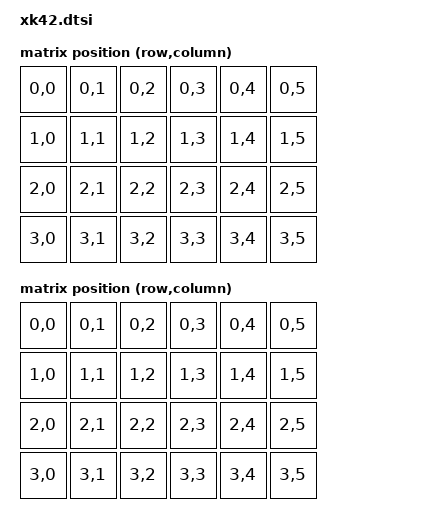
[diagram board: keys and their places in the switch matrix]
/*
* Copyright (c) 2020 The ZMK Contributors
*
* SPDX-License-Identifier: MIT
*/

/dts-v1/;
#include <nordic/nrf52840_qiaa.dtsi>
#include <dt-bindings/zmk/matrix_transform.h>

#include "xk42-layouts.dtsi"

&default_layout {
    transform = <&default_transform>;
};

&five_col_layout {
    transform = <&five_col_transform>;
};

/ {
    chosen {
        zephyr,code-partition = &code_partition;
        zephyr,sram = &sram0;
        zephyr,flash = &flash0;
        zmk,kscan = &kscan0;
        zmk,battery = &fuelgauge;
    };

    default_transform: keymap_transform_0 {
        compatible = "zmk,matrix-transform";
        columns = <6>;
        rows = <4>;
        map = <
            RC(0,0) RC(0,1) RC(0,2) RC(0,3) RC(0,4) RC(0,5)
            RC(1,0) RC(1,1) RC(1,2) RC(1,3) RC(1,4) RC(1,5)
            RC(2,0) RC(2,1) RC(2,2) RC(2,3) RC(2,4) RC(2,5)
            RC(3,0) RC(3,1) RC(3,2) RC(3,3) RC(3,4) RC(3,5)
        >;
    };

    five_col_transform: keymap_transform_1 {
        compatible = "zmk,matrix-transform";
        columns = <6>;
        rows = <4>;
        map = <
            RC(0,0) RC(0,1) RC(0,2) RC(0,3) RC(0,4) RC(0,5)
            RC(1,0) RC(1,1) RC(1,2) RC(1,3) RC(1,4) RC(1,5)
            RC(2,0) RC(2,1) RC(2,2) RC(2,3) RC(2,4) RC(2,5)
            RC(3,0) RC(3,1) RC(3,2) RC(3,3) RC(3,4) RC(3,5)
        >;
    };

    // Node name must match original "EXT_POWER" label to preserve user settings.
    EXT_POWER {
        compatible = "zmk,ext-power-generic";
        control-gpios = <&gpio1 11 GPIO_ACTIVE_HIGH>;
        init-delay-ms = <50>;
    };
};

&gpio0 {
    status = "okay";
};

&gpio1 {
    status = "okay";
};

zephyr_udc0: &usbd {
    status = "okay";
};


&pinctrl {
    spi0_default: spi0_default {
        group1 {
            psels = <NRF_PSEL(SPIM_SCK, 0, 17)>,
                <NRF_PSEL(SPIM_MOSI, 0, 20)>,
                <NRF_PSEL(SPIM_MISO, 0, 25)>;
        };
    };

    spi0_sleep: spi0_sleep {
        group1 {
            psels = <NRF_PSEL(SPIM_SCK, 0, 17)>,
                <NRF_PSEL(SPIM_MOSI, 0, 20)>,
                <NRF_PSEL(SPIM_MISO, 0, 25)>;
            low-power-enable;
        };
    };

    i2c1_default: i2c1_default {
        group1 {
            psels = <NRF_PSEL(TWIM_SDA, 0, 17)>,
                <NRF_PSEL(TWIM_SCL, 0, 20)>;
        };
    };

    i2c1_sleep: i2c1_sleep {
        group1 {
            psels = <NRF_PSEL(TWIM_SDA, 0, 17)>,
                <NRF_PSEL(TWIM_SCL, 0, 20)>;
            low-power-enable;
        };
    };
};

nice_view_spi: &spi0 {
    compatible = "nordic,nrf-spim";
    pinctrl-0 = <&spi0_default>;
    pinctrl-1 = <&spi0_sleep>;
    pinctrl-names = "default", "sleep";
    cs-gpios = <&gpio1 6 GPIO_ACTIVE_HIGH>;
};

&i2c1 {
    status = "okay";
    compatible = "nordic,nrf-twim";
    pinctrl-0 = <&i2c1_default>;
    pinctrl-1 = <&i2c1_sleep>;
    pinctrl-names = "default", "sleep";
    clock-frequency = <100000>;

    fuelgauge: max17048@36 {
        compatible = "zmk,maxim-max17048";
        reg = <0x36>;
    };
};

&flash0 {
    /*
* For more information, see:
* http://docs.zephyrproject.org/latest/devices/dts/flash_partitions.html
    */
    partitions {
        compatible = "fixed-partitions";
        #address-cells = <1>;
        #size-cells = <1>;

        sd_partition: partition@0 {
            label = "softdevice";
            reg = <0x00000000 0x00026000>;
        };
        code_partition: partition@26000 {
            label = "code_partition";
            reg = <0x00026000 0x000c6000>;
        };
        storage_partition: partition@ec000 {
            label = "storage";
            reg = <0x000ec000 0x00008000>;
        };
        boot_partition: partition@f4000 {
            label = "adafruit_boot";
            reg = <0x000f4000 0x0000c000>;
        };
    };
};
